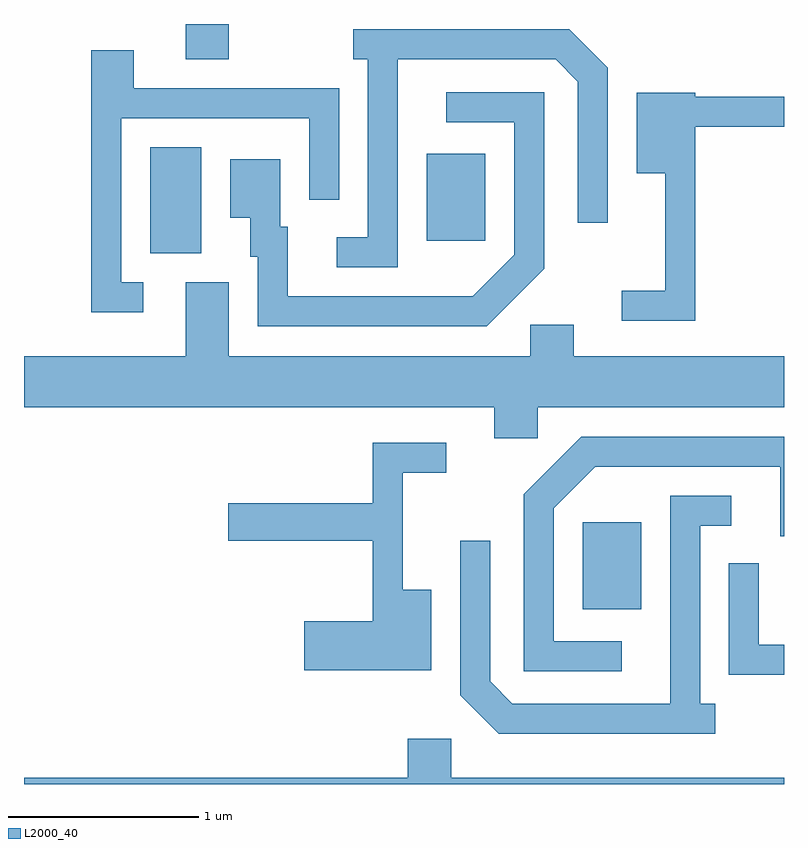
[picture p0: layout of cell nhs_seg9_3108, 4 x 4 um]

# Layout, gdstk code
import gdstk
lib = gdstk.Library(unit=1e-6, precision=1e-09)
def R(c, l, rs):  # rectangles x0, y0, x1, y1
    for r in rs: c.add(gdstk.rectangle(r[:2], r[2:], *l))
def P(c, l, *ps):  # polygons
    for p in ps: c.add(gdstk.Polygon(p, *l))
L2000_40 = (2000, 40)

nhs_seg9_3108 = lib.new_cell('nhs_seg9_3108')
R(nhs_seg9_3108, L2000_40, [(278.551,2057.351,278.859,2057.809), (276.276,2059.226,276.544,2059.784), (277.731,2059.291,278.039,2059.749), (276.461,2060.246,276.689,2060.432), (278.731,2060.431,278.959,2060.432)])
P(nhs_seg9_3108, L2000_40, [(277.579,2060.246),(278.409,2060.246),(278.526,2060.129),(278.526,2059.387),(278.684,2059.387),(278.684,2060.202),(278.482,2060.404),(277.343,2060.404),(277.343,2060.246),(277.421,2060.246),(277.421,2059.309),(277.258,2059.309),(277.258,2059.151),(277.579,2059.151)],
  [(276.238,2059.074),(276.124,2059.074),(276.124,2059.936),(277.111,2059.936),(277.111,2059.508),(277.269,2059.508),(277.269,2060.094),(276.189,2060.094),(276.189,2060.294),(275.966,2060.294),(275.966,2058.916),(276.238,2058.916)],
  [(278.349,2059.144),(278.349,2060.074),(277.833,2060.074),(277.833,2059.916),(278.191,2059.916),(278.191,2059.217),(277.974,2058.999),(276.999,2058.999),(276.999,2059.364),(276.959,2059.364),(276.959,2059.719),(276.696,2059.719),(276.696,2059.411),(276.801,2059.411),(276.801,2059.206),(276.841,2059.206),(276.841,2058.841),(278.047,2058.841)],
  [(279.144,2059.891),(279.611,2059.891),(279.611,2060.049),(279.144,2060.049),(279.144,2060.069),(278.836,2060.069),(278.836,2059.646),(278.986,2059.646),(278.986,2059.029),(278.758,2059.029),(278.758,2058.871),(279.144,2058.871)],
  [(278.314,2058.416),(279.611,2058.416),(279.611,2058.684),(278.504,2058.684),(278.504,2058.849),(278.276,2058.849),(278.276,2058.684),(276.689,2058.684),(276.689,2059.074),(276.461,2059.074),(276.461,2058.684),(275.611,2058.684),(275.611,2058.416),(278.086,2058.416),(278.086,2058.251),(278.314,2058.251)],
  [(278.758,2057.184),(278.399,2057.184),(278.399,2057.884),(278.617,2058.101),(279.591,2058.101),(279.591,2057.736),(279.611,2057.736),(279.611,2058.259),(278.544,2058.259),(278.241,2057.957),(278.241,2057.026),(278.758,2057.026)],
  [(277.754,2057.454),(277.604,2057.454),(277.604,2058.071),(277.833,2058.071),(277.833,2058.229),(277.446,2058.229),(277.446,2057.909),(276.686,2057.909),(276.686,2057.711),(277.446,2057.711),(277.446,2057.289),(277.086,2057.289),(277.086,2057.031),(277.754,2057.031)],
  [(279.248,2056.854),(279.169,2056.854),(279.169,2057.791),(279.333,2057.791),(279.333,2057.949),(279.011,2057.949),(279.011,2056.854),(278.182,2056.854),(278.064,2056.972),(278.064,2057.713),(277.906,2057.713),(277.906,2056.899),(278.109,2056.696),(279.248,2056.696)],
  [(279.611,2057.164),(279.479,2057.164),(279.479,2057.593),(279.321,2057.593),(279.321,2057.006),(279.611,2057.006)],
  [(279.611,2056.464),(277.859,2056.464),(277.859,2056.669),(277.631,2056.669),(277.631,2056.464),(275.611,2056.464),(275.611,2056.432),(279.611,2056.432)])

lib.write_gds('nhs_seg9_3108.gds')
